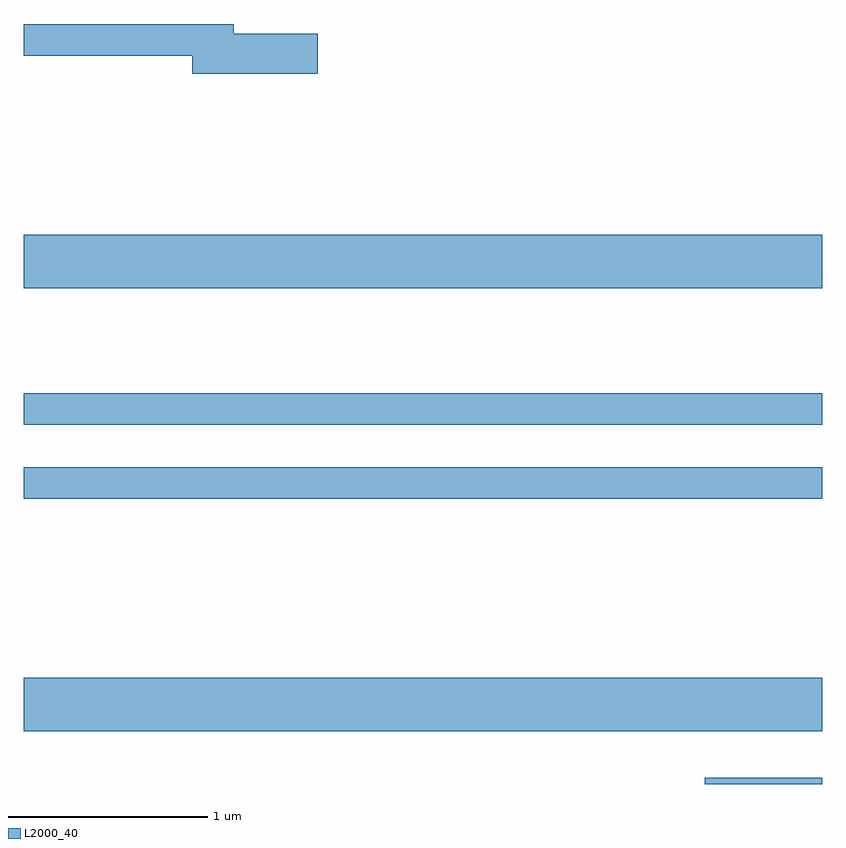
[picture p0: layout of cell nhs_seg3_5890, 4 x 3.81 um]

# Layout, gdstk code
import gdstk
lib = gdstk.Library(unit=1e-6, precision=1e-09)
def R(c, l, rs):  # rectangles x0, y0, x1, y1
    for r in rs: c.add(gdstk.rectangle(r[:2], r[2:], *l))
def P(c, l, *ps):  # polygons
    for p in ps: c.add(gdstk.Polygon(p, *l))
L2000_40 = (2000, 40)

nhs_seg3_5890 = lib.new_cell('nhs_seg3_5890')
R(nhs_seg3_5890, L2000_40, [(361.023,1207.892,361.611,1207.924), (357.611,1208.156,361.611,1208.424), (357.611,1209.321,361.611,1209.479), (357.611,1209.691,361.611,1209.849), (357.611,1210.376,361.611,1210.644)])
P(nhs_seg3_5890, L2000_40, [(359.084,1211.649),(358.664,1211.649),(358.664,1211.699),(357.611,1211.699),(357.611,1211.541),(358.456,1211.541),(358.456,1211.451),(359.084,1211.451)])

lib.write_gds('nhs_seg3_5890.gds')
